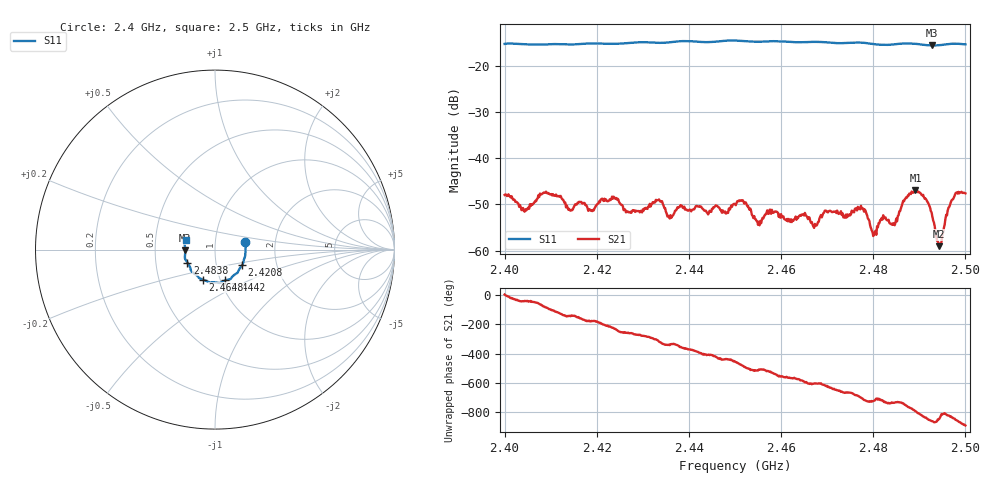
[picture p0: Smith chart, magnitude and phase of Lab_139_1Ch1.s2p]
# Hz S RI R 50
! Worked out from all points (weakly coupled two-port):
!   601 points, 2.4 GHz to 2.5 GHz, reference 50 ohm
!   highest |S21| = -46.96 dB at 2.4892 GHz (marker M1); lowest = -59.0 dB at 2.4943 GHz (marker M2)
!   lowest |S11| = -15.6 dB at 2.4928 GHz (marker M3), VSWR 1.40, Z = 35.8 - j0.348 ohm
!   |S11| at or under -10 dB: start of sweep to end of sweep
!   S12 and S22 are empty: the file has one direction only
!   S11 on the Smith chart (normalised r, x): 2.4 GHz: 1.40, +0.12; 2.4208 GHz: 1.33, -0.24; 2.4442 GHz: 1.05, -0.37; 2.4648 GHz: 0.83, -0.29; 2.4838 GHz: 0.73, -0.11; 2.5 GHz: 0.72, +0.08
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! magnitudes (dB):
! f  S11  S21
! 2.4 GHz  -15.3  -47.9
! 2.4042 GHz  -15.3  -51.4
! 2.4087 GHz  -15.4  -47.5
! 2.4167 GHz  -15.2  -49.5
! 2.4208 GHz  -15.2  -49.0
! 2.427 GHz  -15.0  -51.7
! 2.4333 GHz  -15.0  -49.0
! 2.4358 GHz  -14.9  -53.0
! 2.4442 GHz  -14.9  -52.1
! 2.45 GHz  -14.5  -49.9
! 2.4552 GHz  -14.8  -53.7
! 2.4648 GHz  -14.9  -52.1
! 2.4667 GHz  -14.8  -53.8
! 2.4772 GHz  -15.0  -51.0
! 2.4802 GHz  -15.3  -56.4
! 2.4833 GHz  -15.5  -53.3
! 2.4838 GHz  -15.4  -54.2
! 2.4892 GHz  -15.2  -47.0
! 2.4928 GHz  -15.6  -52.7
! 2.4943 GHz  -15.5  -59.0
! 2.4973 GHz  -15.2  -48.9
! 2.5 GHz  -15.4  -47.6
